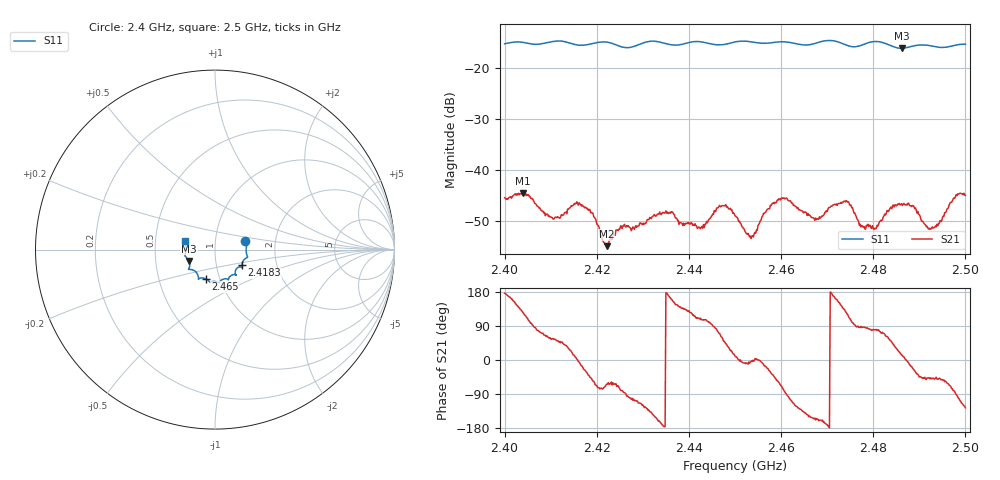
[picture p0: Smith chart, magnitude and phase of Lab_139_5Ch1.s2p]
# Hz S RI R 50
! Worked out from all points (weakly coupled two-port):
!   601 points, 2.4 GHz to 2.5 GHz, reference 50 ohm
!   highest |S21| = -44.54 dB at 2.404 GHz (marker M1); lowest = -55.0 dB at 2.4222 GHz (marker M2)
!   lowest |S11| = -16.0 dB at 2.4862 GHz (marker M3), VSWR 1.38, Z = 37.1 - j4.82 ohm
!   |S11| at or under -10 dB: start of sweep to end of sweep
!   S12 and S22 are empty: the file has one direction only
!   S11 on the Smith chart (normalised r, x): 2.4 GHz: 1.40, +0.13; 2.4183 GHz: 1.33, -0.24; 2.465 GHz: 0.86, -0.29; 2.5 GHz: 0.71, +0.07
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2.4e9  0.169 0.0457  -0.00532 0.000352  0 0  0 0
2.404e9  0.1788 0.027  -0.00343 0.00484  0 0  0 0
2.410333e9  0.1801 -0.0368  0.00188 0.00284  0 0  0 0
2.416667e9  0.1548 -0.0681  0.00425 -0.00118  0 0  0 0
2.418333e9  0.1499 -0.0867  0.00309 -0.00265  0 0  0 0
2.422167e9  0.1522 -0.0998  0.00079 -0.00159  0 0  0 0
2.4255e9  0.1297 -0.0983  0.000433 -0.00263  0 0  0 0
2.433333e9  0.1167 -0.1413  -0.00349 -0.00119  0 0  0 0
2.442333e9  0.0738 -0.1683  -0.000843 0.00257  0 0  0 0
2.447e9  0.0436 -0.1652  0.00209 0.00383  0 0  0 0
2.45e9  0.0252 -0.1807  0.0035 0.000649  0 0  0 0
2.4535e9  0.0166 -0.1824  0.00211 -0.00011  0 0  0 0
2.459667e9  -0.0267 -0.181  0.00242 -0.00458  0 0  0 0
2.465e9  -0.0526 -0.1623  -0.00284 -0.00257  0 0  0 0
2.466667e9  -0.0713 -0.1577  -0.003 -0.0016  0 0  0 0
2.474167e9  -0.0962 -0.1399  -0.00288 0.00409  0 0  0 0
2.477333e9  -0.1254 -0.1128  6.69e-05 0.00275  0 0  0 0
2.480167e9  -0.1473 -0.1103  0.000471 0.00256  0 0  0 0
2.483333e9  -0.142 -0.0958  0.00216 0.00326  0 0  0 0
2.486167e9  -0.1447 -0.0634  0.00455 0.00103  0 0  0 0
2.4925e9  -0.1654 -0.0241  0.00181 -0.00195  0 0  0 0
2.5e9  -0.1668 0.0472  -0.00331 -0.00454  0 0  0 0
